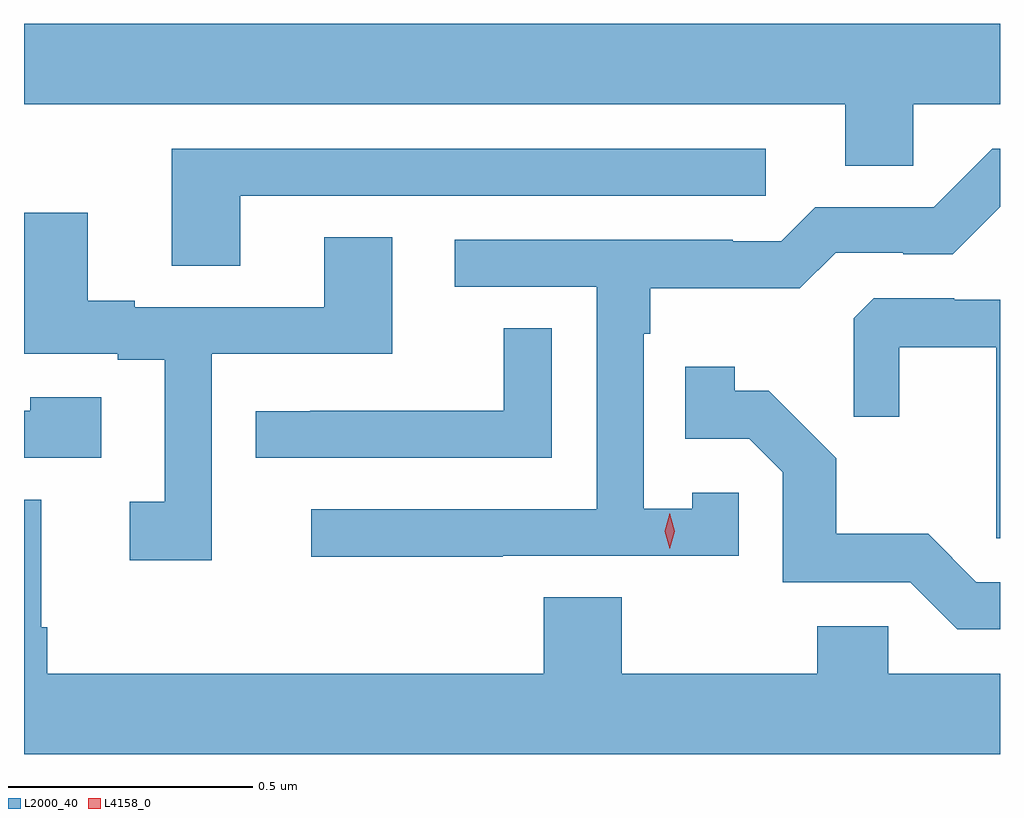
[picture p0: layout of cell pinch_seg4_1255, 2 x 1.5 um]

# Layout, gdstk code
import gdstk
lib = gdstk.Library(unit=1e-6, precision=1e-09)
def P(c, l, *ps):  # polygons
    for p in ps: c.add(gdstk.Polygon(p, *l))
L2000_40 = (2000, 40)
L4158_0 = (4158, 0)

pinch_seg4_1255 = lib.new_cell('pinch_seg4_1255')
P(pinch_seg4_1255, L2000_40, [(325.62,810.14),(325.798,810.14),(325.798,810.304),(323.798,810.304),(323.798,810.14),(325.481,810.14),(325.481,810.013),(325.62,810.013)],
  [(324.779,809.214),(325.263,809.214),(325.263,809.343),(325.167,809.343),(325.167,809.311),(325.068,809.311),(325.068,809.669),(325.081,809.669),(325.081,809.762),(325.388,809.762),(325.461,809.835),(325.6,809.835),(325.6,809.832),(325.701,809.832),(325.798,809.929),(325.798,810.048),(325.782,810.048),(325.662,809.928),(325.419,809.928),(325.35,809.859),(325.25,809.859),(325.25,809.862),(324.681,809.862),(324.681,809.766),(324.972,809.766),(324.972,809.31),(324.387,809.31),(324.387,809.212),(324.779,809.212)],
  [(324.241,809.952),(325.318,809.952),(325.318,810.048),(324.101,810.048),(324.101,809.809),(324.241,809.809)],
  [(324.183,809.628),(324.553,809.628),(324.553,809.867),(324.413,809.867),(324.413,809.724),(324.025,809.724),(324.025,809.737),(323.929,809.737),(323.929,809.917),(323.798,809.917),(323.798,809.628),(323.99,809.628),(323.99,809.616),(324.086,809.616),(324.086,809.325),(324.015,809.325),(324.015,809.205),(324.183,809.205)],
  [(325.798,809.739),(325.704,809.739),(325.704,809.742),(325.539,809.742),(325.498,809.701),(325.498,809.499),(325.592,809.499),(325.592,809.642),(325.79,809.642),(325.79,809.25),(325.798,809.25)],
  [(324.879,809.681),(324.781,809.681),(324.781,809.511),(324.385,809.511),(324.385,809.51),(324.273,809.51),(324.273,809.415),(324.879,809.415)],
  [(325.798,809.16),(325.749,809.16),(325.651,809.259),(325.462,809.259),(325.462,809.414),(325.324,809.552),(325.254,809.552),(325.254,809.602),(325.153,809.602),(325.153,809.454),(325.284,809.454),(325.353,809.385),(325.353,809.16),(325.614,809.16),(325.71,809.064),(325.798,809.064)],
  [(323.956,809.539),(323.811,809.539),(323.811,809.511),(323.798,809.511),(323.798,809.415),(323.956,809.415)],
  [(325.798,808.972),(325.569,808.972),(325.569,809.07),(325.423,809.07),(325.423,808.972),(325.023,808.972),(325.023,809.129),(324.863,809.129),(324.863,808.972),(323.846,808.972),(323.846,809.068),(323.833,809.068),(323.833,809.329),(323.798,809.329),(323.798,808.808),(325.798,808.808)])
P(pinch_seg4_1255, L4158_0, [(325.121,809.229),(325.121,809.229),(325.111,809.265),(325.121,809.301),(325.121,809.301),(325.121,809.301),(325.131,809.265),(325.121,809.229)])

lib.write_gds('pinch_seg4_1255.gds')
